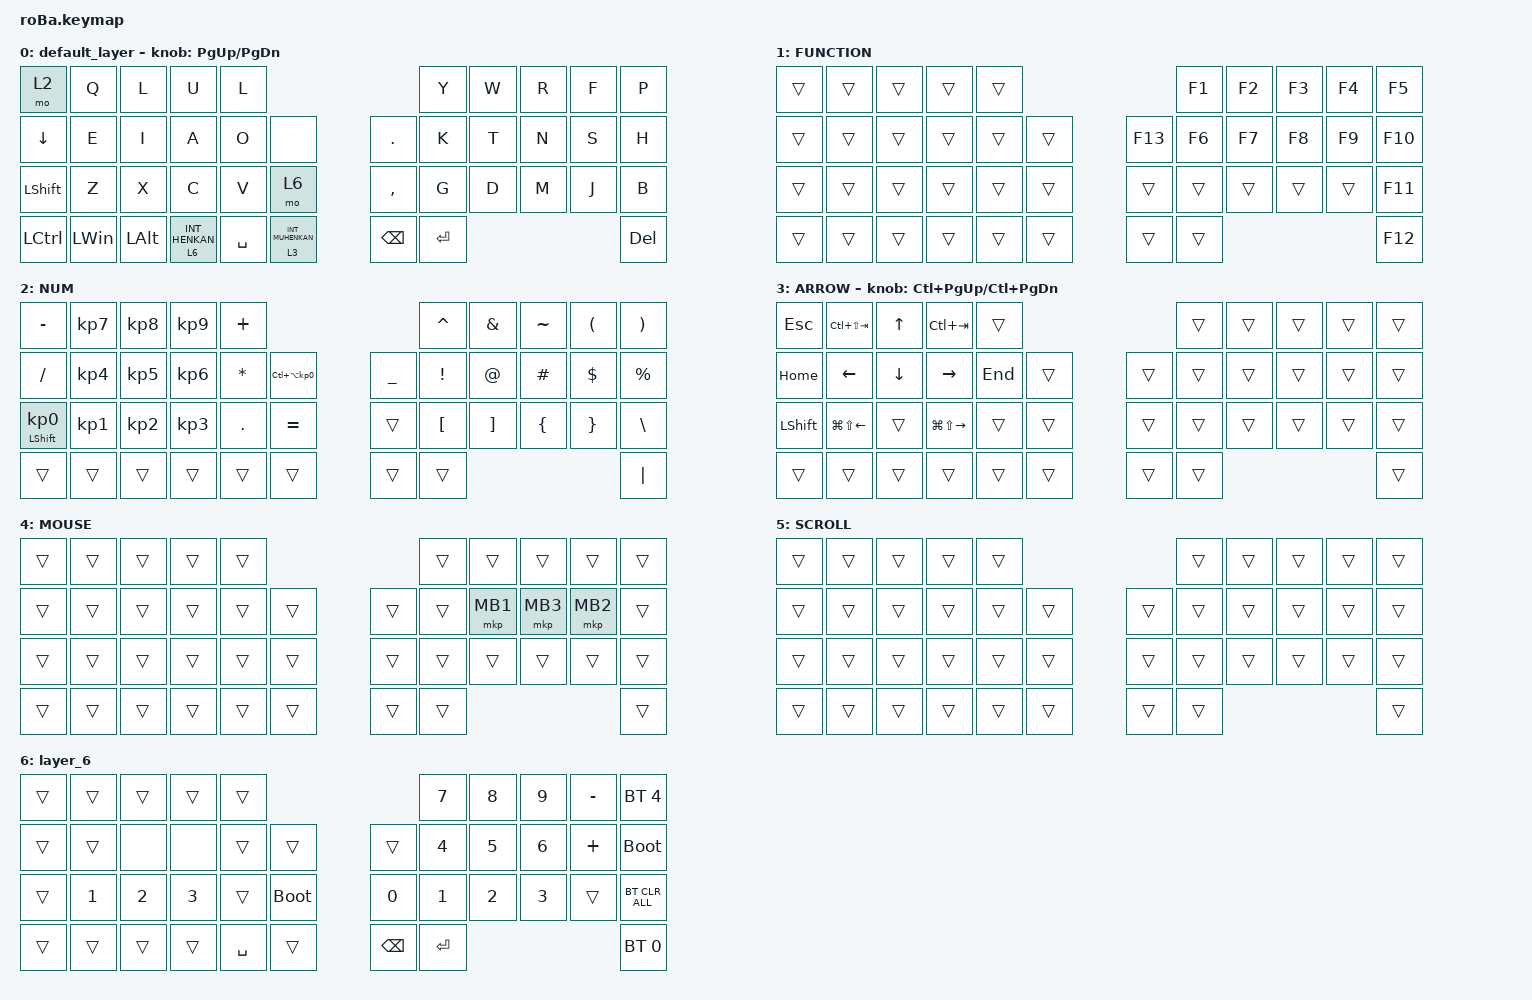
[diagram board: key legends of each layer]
#include <behaviors.dtsi>
#include <dt-bindings/zmk/bt.h>
#include <dt-bindings/zmk/keys.h>
#include <dt-bindings/zmk/pointing.h>

&mt {
    flavor = "balanced";
    quick-tap-ms = <0>;
};

&trackball {
    automouse-layer = <4>;
    scroll-layers = <5>;

    // arrows {
    //     layers = <3>;
    //     bindings =
    //         <&kp RIGHT_ARROW>,
    //         <&kp LEFT_ARROW>,
    //         <&kp UP_ARROW>,
    //         <&kp DOWN_ARROW>;
    //     tick = <10>;
    //     wait-ms = <5>;
    //     tap-ms = <5>;
    // };
};

/ {
    combos {
        compatible = "zmk,combos";

        tab {
            bindings = <&kp TAB>;
            key-positions = <11 12>;
        };

        shift_tab {
            bindings = <&kp LS(TAB)>;
            key-positions = <12 13>;
        };

        muhennkann {
            bindings = <&to_layer_0 INT_MUHENKAN>;
            key-positions = <11 10>;
        };

        double_quotation {
            bindings = <&kp DOUBLE_QUOTES>;
            key-positions = <20 21>;
        };

        eq {
            bindings = <&kp EQUAL>;
            key-positions = <24 25>;
        };
    };

    macros {
        to_layer_0: to_layer_0 {
            compatible = "zmk,behavior-macro-one-param";
            #binding-cells = <1>;
            bindings = <&to 0 &macro_param_1to1 &kp MACRO_PLACEHOLDER>;
            label = "TO_LAYER_0";
        };
    };

    behaviors {
        lt_to_layer_0: lt_to_layer_0 {
            compatible = "zmk,behavior-hold-tap";
            label = "LAYER_TAP_TO_0";
            bindings = <&mo>, <&to_layer_0>;

            #binding-cells = <2>;
            tapping-term-ms = <200>;
        };
    };

    keymap {
        compatible = "zmk,keymap";

        default_layer {
            bindings = <
&mo 2           &kp Q         &kp L         &kp U                        &kp L                                                        &kp Y      &kp W  &kp R  &kp F  &kp P
&kp DOWN        &kp E         &kp I         &kp A                        &kp O      &none                              &kp PERIOD     &kp K      &kp T  &kp N  &kp S  &kp H
&kp LEFT_SHIFT  &kp Z         &kp X         &kp C                        &kp V      &mo 6                              &kp COMMA      &kp G      &kp D  &kp M  &kp J  &kp B
&kp LCTRL       &kp LEFT_WIN  &kp LEFT_ALT  &lt_to_layer_0 6 INT_HENKAN  &kp SPACE  &lt_to_layer_0 3 INT_MUHENKAN      &kp BACKSPACE  &kp ENTER                       &kp DEL
            >;

            sensor-bindings = <&inc_dec_kp PG_UP PAGE_DOWN>;
        };

        FUNCTION {
            bindings = <
&trans  &trans  &trans  &trans  &trans                       &kp F1  &kp F2  &kp F3  &kp F4  &kp F5
&trans  &trans  &trans  &trans  &trans  &trans      &kp F13  &kp F6  &kp F7  &kp F8  &kp F9  &kp F10
&trans  &trans  &trans  &trans  &trans  &trans      &trans   &trans  &trans  &trans  &trans  &kp F11
&trans  &trans  &trans  &trans  &trans  &trans      &trans   &trans                          &kp F12
            >;
        };

        NUM {
            bindings = <
&kp MINUS                   &kp KP_NUMBER_7  &kp KP_NUMBER_8  &kp KP_NUMBER_9  &kp PLUS                                                   &kp CARET         &kp AMPERSAND      &kp TILDE       &kp LEFT_PARENTHESIS  &kp RIGHT_PARENTHESIS
&kp SLASH                   &kp KP_NUMBER_4  &kp KP_NUMBER_5  &kp KP_NUMBER_6  &kp ASTERISK  &kp LC(LA(KP_NUMBER_0))      &kp UNDERSCORE  &kp EXCLAMATION   &kp AT_SIGN        &kp HASH        &kp DOLLAR            &kp PERCENT
&mt LEFT_SHIFT KP_NUMBER_0  &kp KP_NUMBER_1  &kp KP_NUMBER_2  &kp KP_NUMBER_3  &kp PERIOD    &kp EQUAL                    &trans          &kp LEFT_BRACKET  &kp RIGHT_BRACKET  &kp LEFT_BRACE  &kp RIGHT_BRACE       &kp BACKSLASH
&trans                      &trans           &trans           &trans           &trans        &trans                       &trans          &trans                                                                     &kp PIPE
            >;
        };

        ARROW {
            bindings = <
&kp ESCAPE      &kp LC(LS(TAB))         &kp UP_ARROW    &kp LC(TAB)              &trans                       &trans  &trans  &trans  &trans  &trans
&kp HOME        &kp LEFT_ARROW          &kp DOWN_ARROW  &kp RIGHT_ARROW          &kp END  &trans      &trans  &trans  &trans  &trans  &trans  &trans
&kp LEFT_SHIFT  &kp LG(LS(LEFT_ARROW))  &trans          &kp LG(LS(RIGHT_ARROW))  &trans   &trans      &trans  &trans  &trans  &trans  &trans  &trans
&trans          &trans                  &trans          &trans                   &trans   &trans      &trans  &trans                          &trans
            >;

            sensor-bindings = <&inc_dec_kp LC(PAGE_UP) LC(PAGE_DOWN)>;
        };

        MOUSE {
            bindings = <
&trans  &trans  &trans  &trans  &trans                      &trans  &trans    &trans    &trans    &trans
&trans  &trans  &trans  &trans  &trans  &trans      &trans  &trans  &mkp MB1  &mkp MB3  &mkp MB2  &trans
&trans  &trans  &trans  &trans  &trans  &trans      &trans  &trans  &trans    &trans    &trans    &trans
&trans  &trans  &trans  &trans  &trans  &trans      &trans  &trans                                &trans
            >;
        };

        SCROLL {
            bindings = <
&trans  &trans  &trans  &trans  &trans                      &trans  &trans  &trans  &trans  &trans
&trans  &trans  &trans  &trans  &trans  &trans      &trans  &trans  &trans  &trans  &trans  &trans
&trans  &trans  &trans  &trans  &trans  &trans      &trans  &trans  &trans  &trans  &trans  &trans
&trans  &trans  &trans  &trans  &trans  &trans      &trans  &trans                          &trans
            >;
        };

        layer_6 {
            bindings = <
&trans  &trans        &trans        &trans        &trans                                     &kp N7        &kp N8        &kp N9        &kp MINUS  &bt BT_SEL 4
&trans  &trans        &none         &none         &trans     &trans           &trans         &kp NUMBER_4  &kp N5        &kp NUMBER_6  &kp PLUS   &bootloader
&trans  &kp NUMBER_1  &kp NUMBER_2  &kp NUMBER_3  &trans     &bootloader      &kp N0         &kp NUMBER_1  &kp NUMBER_2  &kp NUMBER_3  &trans     &bt BT_CLR_ALL
&trans  &trans        &trans        &trans        &kp SPACE  &trans           &kp BACKSPACE  &kp ENTER                                            &bt BT_SEL 0
            >;
        };
    };
};
